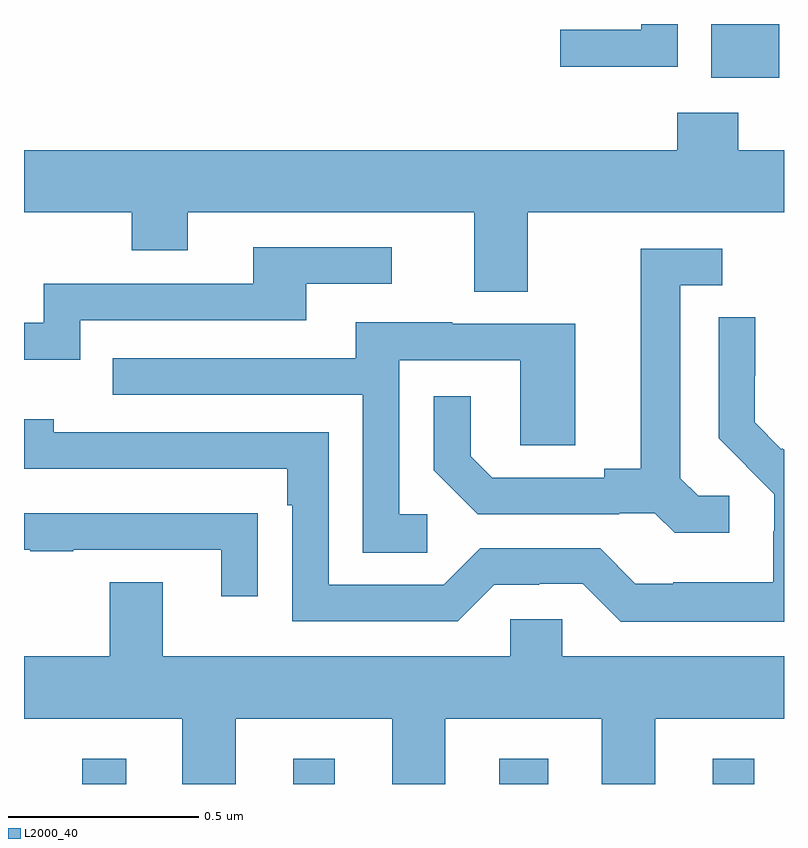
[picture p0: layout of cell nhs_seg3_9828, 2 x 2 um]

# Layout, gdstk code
import gdstk
lib = gdstk.Library(unit=1e-6, precision=1e-09)
def R(c, l, rs):  # rectangles x0, y0, x1, y1
    for r in rs: c.add(gdstk.rectangle(r[:2], r[2:], *l))
def P(c, l, *ps):  # polygons
    for p in ps: c.add(gdstk.Polygon(p, *l))
L2000_40 = (2000, 40)

nhs_seg3_9828 = lib.new_cell('nhs_seg3_9828')
R(nhs_seg3_9828, L2000_40, [(233.153,711.4,233.269,711.466), (233.708,711.4,233.818,711.466), (234.251,711.4,234.379,711.466), (234.812,711.4,234.922,711.466), (234.809,713.258,234.988,713.4)])
P(nhs_seg3_9828, L2000_40, [(234.72,713.4),(234.624,713.4),(234.624,713.385),(234.411,713.385),(234.411,713.287),(234.72,713.287)],
  [(234.325,712.904),(235,712.904),(235,713.068),(234.879,713.068),(234.879,713.167),(234.719,713.167),(234.719,713.068),(233,713.068),(233,712.904),(233.284,712.904),(233.284,712.805),(233.431,712.805),(233.431,712.904),(234.185,712.904),(234.185,712.696),(234.325,712.696)],
  [(233.148,712.62),(233.743,712.62),(233.743,712.716),(233.968,712.716),(233.968,712.812),(233.603,712.812),(233.603,712.716),(233.052,712.716),(233.052,712.614),(233,712.614),(233,712.517),(233.148,712.517)],
  [(234.856,712.158),(234.774,712.158),(234.727,712.205),(234.727,712.713),(234.838,712.713),(234.838,712.809),(234.623,712.809),(234.623,712.229),(234.527,712.229),(234.527,712.206),(234.232,712.206),(234.175,712.263),(234.175,712.42),(234.078,712.42),(234.078,712.226),(234.194,712.11),(234.566,712.11),(234.566,712.113),(234.66,712.113),(234.712,712.061),(234.856,712.061)],
  [(235,712.28),(234.996,712.284),(234.993,712.281),(234.923,712.352),(234.923,712.474),(234.924,712.474),(234.924,712.628),(234.828,712.628),(234.828,712.31),(234.901,712.237),(234.9,712.236),(234.974,712.162),(234.974,712.065),(234.972,712.065),(234.972,711.931),(234.709,711.931),(234.709,711.927),(234.609,711.927),(234.516,712.02),(234.201,712.02),(234.105,711.924),(233.802,711.924),(233.802,712.326),(233.078,712.326),(233.078,712.36),(233,712.36),(233,712.23),(233.693,712.23),(233.693,712.133),(233.706,712.133),(233.706,711.828),(234.141,711.828),(234.237,711.924),(234.356,711.924),(234.356,711.927),(234.471,711.927),(234.571,711.827),(235,711.827)],
  [(234.061,712.11),(233.988,712.11),(233.988,712.515),(234.306,712.515),(234.306,712.291),(234.451,712.291),(234.451,712.611),(234.127,712.611),(234.127,712.615),(233.873,712.615),(233.873,712.521),(233.233,712.521),(233.233,712.425),(233.892,712.425),(233.892,712.009),(234.061,712.009)],
  [(233.615,712.112),(233.513,712.112),(233.513,712.113),(233,712.113),(233,712.017),(233.017,712.017),(233.017,712.012),(233.129,712.012),(233.129,712.017),(233.519,712.017),(233.519,711.894),(233.615,711.894)],
  [(233.557,711.572),(233.969,711.572),(233.969,711.4),(234.109,711.4),(234.109,711.572),(234.521,711.572),(234.521,711.4),(234.661,711.4),(234.661,711.572),(235,711.572),(235,711.736),(234.417,711.736),(234.417,711.834),(234.279,711.834),(234.279,711.736),(233.365,711.736),(233.365,711.931),(233.225,711.931),(233.225,711.736),(233,711.736),(233,711.572),(233.417,711.572),(233.417,711.4),(233.557,711.4)])

lib.write_gds('nhs_seg3_9828.gds')
